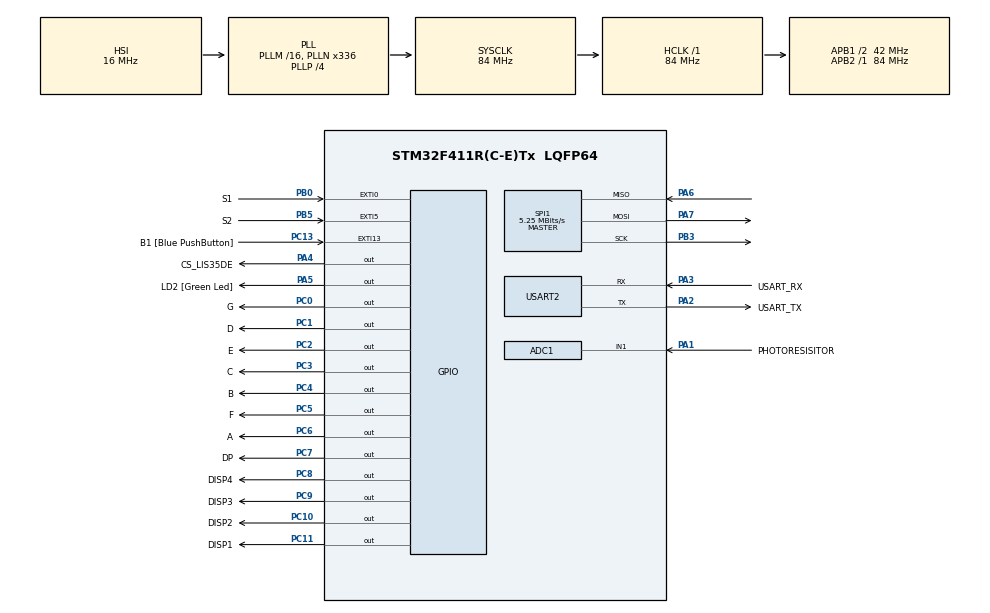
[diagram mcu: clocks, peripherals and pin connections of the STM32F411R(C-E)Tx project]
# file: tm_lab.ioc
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ADC1.Channel-0\#ChannelRegularConversion=ADC_CHANNEL_1
ADC1.Channel-1\#ChannelRegularConversion=ADC_CHANNEL_TEMPSENSOR
ADC1.ContinuousConvMode=DISABLE
ADC1.DMAContinuousRequests=ENABLE
ADC1.EOCSelection=ADC_EOC_SINGLE_CONV
ADC1.ExternalTrigConv=ADC_EXTERNALTRIGCONV_T2_TRGO
ADC1.NbrOfConversion=2
ADC1.NbrOfConversionFlag=1
ADC1.Rank-0\#ChannelRegularConversion=1
ADC1.Rank-1\#ChannelRegularConversion=2
ADC1.SamplingTime-0\#ChannelRegularConversion=ADC_SAMPLETIME_480CYCLES
ADC1.SamplingTime-1\#ChannelRegularConversion=ADC_SAMPLETIME_480CYCLES
ADC1.ScanConvMode=ENABLE
ADC1.master=1
Dma.ADC1.2.Direction=DMA_PERIPH_TO_MEMORY
Dma.ADC1.2.FIFOMode=DMA_FIFOMODE_DISABLE
Dma.ADC1.2.Instance=DMA2_Stream0
Dma.ADC1.2.MemDataAlignment=DMA_MDATAALIGN_HALFWORD
Dma.ADC1.2.MemInc=DMA_MINC_ENABLE
Dma.ADC1.2.Mode=DMA_CIRCULAR
Dma.ADC1.2.PeriphDataAlignment=DMA_PDATAALIGN_HALFWORD
Dma.ADC1.2.PeriphInc=DMA_PINC_DISABLE
Dma.ADC1.2.Priority=DMA_PRIORITY_LOW
Dma.Request0=USART2_TX
Dma.Request1=USART2_RX
Dma.Request2=ADC1
Dma.USART2_RX.1.Direction=DMA_PERIPH_TO_MEMORY
Dma.USART2_RX.1.FIFOMode=DMA_FIFOMODE_DISABLE
Dma.USART2_RX.1.Instance=DMA1_Stream5
Dma.USART2_RX.1.MemDataAlignment=DMA_MDATAALIGN_BYTE
Dma.USART2_RX.1.MemInc=DMA_MINC_ENABLE
Dma.USART2_RX.1.Mode=DMA_NORMAL
Dma.USART2_RX.1.PeriphDataAlignment=DMA_PDATAALIGN_BYTE
Dma.USART2_RX.1.PeriphInc=DMA_PINC_DISABLE
Dma.USART2_RX.1.Priority=DMA_PRIORITY_LOW
Dma.USART2_TX.0.Direction=DMA_MEMORY_TO_PERIPH
Dma.USART2_TX.0.FIFOMode=DMA_FIFOMODE_DISABLE
Dma.USART2_TX.0.Instance=DMA1_Stream6
Dma.USART2_TX.0.MemDataAlignment=DMA_MDATAALIGN_BYTE
Dma.USART2_TX.0.MemInc=DMA_MINC_ENABLE
Dma.USART2_TX.0.Mode=DMA_NORMAL
Dma.USART2_TX.0.PeriphDataAlignment=DMA_PDATAALIGN_BYTE
Dma.USART2_TX.0.PeriphInc=DMA_PINC_DISABLE
Dma.USART2_TX.0.Priority=DMA_PRIORITY_LOW
Mcu.Family=STM32F4
Mcu.Name=STM32F411R(C-E)Tx
Mcu.Package=LQFP64
NVIC.DMA1_Stream5_IRQn=true\:0\:0\:false\:false\:true\:false\:true\:true
NVIC.DMA1_Stream6_IRQn=true\:0\:0\:false\:false\:true\:false\:true\:true
NVIC.DMA2_Stream0_IRQn=true\:0\:0\:false\:false\:true\:false\:true\:true
NVIC.PriorityGroup=NVIC_PRIORITYGROUP_0
NVIC.TIM1_TRG_COM_TIM11_IRQn=true\:0\:0\:false\:false\:true\:true\:true\:true
NVIC.TIM1_UP_TIM10_IRQn=true\:0\:0\:false\:false\:true\:true\:true\:true
NVIC.USART2_IRQn=true\:0\:0\:false\:false\:true\:true\:true\:true
PA1.GPIO_Label=PHOTORESISITOR
PA1.Signal=ADCx_IN1
PA13.GPIO_Label=TMS
PA13.Mode=Serial_Wire
PA13.Signal=SYS_JTMS-SWDIO
PA14.GPIO_Label=TCK
PA14.Mode=Serial_Wire
PA14.Signal=SYS_JTCK-SWCLK
PA2.GPIO_Label=USART_TX
PA2.Mode=Asynchronous
PA2.Signal=USART2_TX
PA3.GPIO_Label=USART_RX
PA3.Mode=Asynchronous
PA3.Signal=USART2_RX
PA4.GPIO_Label=CS_LIS35DE
PA4.PinState=GPIO_PIN_SET
PA4.Signal=GPIO_Output
PA5.GPIO_Label=LD2 [Green Led]
PA5.Signal=GPIO_Output
PA6.Mode=Full_Duplex_Master
PA6.Signal=SPI1_MISO
PA7.Mode=Full_Duplex_Master
PA7.Signal=SPI1_MOSI
PB0.GPIO_Label=S1
PB0.GPIO_ModeDefaultEXTI=GPIO_MODE_IT_FALLING
PB0.GPIO_PuPd=GPIO_PULLUP
PB0.Signal=GPXTI0
PB3.Mode=Full_Duplex_Master
PB3.Signal=SPI1_SCK
PB5.GPIO_Label=S2
PB5.GPIO_ModeDefaultEXTI=GPIO_MODE_IT_FALLING
PB5.GPIO_PuPd=GPIO_PULLUP
PB5.Signal=GPXTI5
PC0.GPIO_Label=G
PC0.Signal=GPIO_Output
PC1.GPIO_Label=D
PC1.Signal=GPIO_Output
PC10.GPIO_Label=DISP2
PC10.Signal=GPIO_Output
PC11.GPIO_Label=DISP1
PC11.Signal=GPIO_Output
PC13-ANTI_TAMP.GPIO_Label=B1 [Blue PushButton]
PC13-ANTI_TAMP.GPIO_ModeDefaultEXTI=GPIO_MODE_IT_FALLING
PC13-ANTI_TAMP.Signal=GPXTI13
PC14-OSC32_IN.Mode=LSE-External-Oscillator
PC14-OSC32_IN.Signal=RCC_OSC32_IN
PC15-OSC32_OUT.Mode=LSE-External-Oscillator
PC15-OSC32_OUT.Signal=RCC_OSC32_OUT
PC2.GPIO_Label=E
PC2.Signal=GPIO_Output
PC3.GPIO_Label=C
PC3.Signal=GPIO_Output
PC4.GPIO_Label=B
PC4.Signal=GPIO_Output
PC5.GPIO_Label=F
PC5.Signal=GPIO_Output
PC6.GPIO_Label=A
PC6.Signal=GPIO_Output
PC7.GPIO_Label=DP
PC7.Signal=GPIO_Output
PC8.GPIO_Label=DISP4
PC8.Signal=GPIO_Output
PC9.GPIO_Label=DISP3
PC9.Signal=GPIO_Output
PH0\ -\ OSC_IN.Mode=HSE-External-Clock-Source
PH0\ -\ OSC_IN.Signal=RCC_OSC_IN
PH1\ -\ OSC_OUT.Mode=HSE-External-Clock-Source
PH1\ -\ OSC_OUT.Signal=RCC_OSC_OUT
ProjectManager.HeapSize=0x200
ProjectManager.StackSize=0x400
ProjectManager.TargetToolchain=STM32CubeIDE
RCC.48MHZClocksFreq_Value=84000000
RCC.AHBFreq_Value=84000000
RCC.APB1CLKDivider=RCC_HCLK_DIV2
RCC.APB1Freq_Value=42000000
RCC.APB1TimFreq_Value=84000000
RCC.APB2Freq_Value=84000000
RCC.APB2TimFreq_Value=84000000
RCC.CortexFreq_Value=84000000
RCC.FLatency-AdvancedSettings=FLASH_LATENCY_2
RCC.HCLKFreq_Value=84000000
RCC.HSE_VALUE=8000000
RCC.HSI_VALUE=16000000
RCC.PLLN=336
RCC.PLLP=RCC_PLLP_DIV4
RCC.SYSCLKFreq_VALUE=84000000
RCC.SYSCLKSource=RCC_SYSCLKSOURCE_PLLCLK
RCC.VCOOutputFreq_Value=336000000
SH.ADCx_IN1.0=ADC1_IN1,IN1
SPI1.BaudRatePrescaler=SPI_BAUDRATEPRESCALER_16
SPI1.CLKPhase=SPI_PHASE_2EDGE
SPI1.CLKPolarity=SPI_POLARITY_HIGH
SPI1.CalculateBaudRate=5.25 MBits/s
SPI1.Direction=SPI_DIRECTION_2LINES
SPI1.Mode=SPI_MODE_MASTER
SPI1.VirtualType=VM_MASTER
TIM10.Period=9
TIM10.Prescaler=8399
TIM11.Period=9999
TIM11.Prescaler=8399
TIM2.Period=999
TIM2.Prescaler=8399
TIM2.TIM_MasterOutputTrigger=TIM_TRGO_UPDATE
USART2.VirtualMode=VM_ASYNC
VP_ADC1_TempSens_Input.Mode=IN-TempSens
VP_TIM10_VS_ClockSourceINT.Mode=Enable_Timer
VP_TIM11_VS_ClockSourceINT.Mode=Enable_Timer
VP_TIM2_VS_ClockSourceINT.Mode=Internal
board=NUCLEO-F411RE

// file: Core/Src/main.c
/* USER CODE BEGIN Header */
/**
  ******************************************************************************
  * @file           : main.c
  * @brief          : Main program body
  ******************************************************************************
  * @attention
  *
  * Copyright (c) 2023 STMicroelectronics.
  * All rights reserved.
  *
  * This software is licensed under terms that can be found in the LICENSE file
  * in the root directory of this software component.
  * If no LICENSE file comes with this software, it is provided AS-IS.
  *
  ******************************************************************************
  */
/* USER CODE END Header */
#include "main.h"

/* USER CODE BEGIN Includes */
#include <stdio.h>
#include <stdbool.h>
/* USER CODE END Includes */

/* USER CODE BEGIN PM */
#define DISPLAY_OFF 255
#define DEBOUNCING_TIME (uint32_t) 20  // [ms]

// Rejsetry akcelerometru LIS35DE
#define CTRL_REG1 0x20  // 01000111 - 0x47
#define OUT_X 0x29
#define OUT_Y 0x2B
#define OUT_Z 0x2D

#define READ(ADDR) ( (ADDR) | (0x80) )

/* USER CODE END PM */

ADC_HandleTypeDef hadc1;
DMA_HandleTypeDef hdma_adc1;

SPI_HandleTypeDef hspi1;

TIM_HandleTypeDef htim2;
TIM_HandleTypeDef htim10;
TIM_HandleTypeDef htim11;

UART_HandleTypeDef huart2;
DMA_HandleTypeDef hdma_usart2_tx;
DMA_HandleTypeDef hdma_usart2_rx;

void SystemClock_Config(void);
static void MX_GPIO_Init(void);
static void MX_DMA_Init(void);
static void MX_USART2_UART_Init(void);
static void MX_TIM10_Init(void);
static void MX_ADC1_Init(void);
static void MX_TIM11_Init(void);
static void MX_TIM2_Init(void);
static void MX_SPI1_Init(void);

/* USER CODE BEGIN 0 */

volatile uint32_t push_time = 0;  // Czas ostatniego wciśnięcia przycisku
volatile uint16_t displayed_number = 0;  // Liczba wyświatlana na wyświelaczach 7-segmentowych

volatile uint8_t n1 = DISPLAY_OFF;  // Cyfra tysięcy
volatile uint8_t n2 = DISPLAY_OFF;  // Cyfra setek
volatile uint8_t n3 = DISPLAY_OFF; // Cyfra dziesiątek
volatile uint8_t n4 = DISPLAY_OFF; // Cyfra jedności

/**
	Funkcja ustawiająca cyfry n1, n2, n3, n4, tak aby reprezentowały 4-cyfrową dziesiętną liczbę

	@param: uint16_t number - liczba całkowita z zakresu 0 - 9999
 **/
void setDigitsByDecimalNumber(uint16_t number){
	n4 = number % 10;
	n3 = (uint8_t) ((number % 100) / 10);
	n2 = (uint8_t) ((number % 1000) / 100);
	n1 = (uint8_t) ((number % 10000) / 1000);

	// Wyłączanie niepotrzebnych zer
	if (n1 == 0)
		n1 = DISPLAY_OFF;

	if (n1 == DISPLAY_OFF && n2 == 0)
		n2 = DISPLAY_OFF;

	if (n1 == DISPLAY_OFF && n2 == DISPLAY_OFF && n3 == 0)
		n3 = DISPLAY_OFF;
}

// Obsługa przerwania zewnętrznego od przycisków S1 i S2, żeby działały, trzeba włączyć EXTI od linii 0 i 5
//void HAL_GPIO_EXTI_Callback(uint16_t GPIO_Pin){
//	// Debouncing
//	if (push_time + DEBOUNCING_TIME < HAL_GetTick()){
//		// Przycisk S1
//		if (GPIO_Pin == S1_Pin){
//			// Zbyt duża wartość
//			if (displayed_number == 9999){
//				displayed_number = 0;
//			} else {
//				++displayed_number;
//			}
//		}
//
//		// Przycisk S2
//		if (GPIO_Pin == S2_Pin){
//			// Zbyt mała wartość
//			if (displayed_number == 0){
//				displayed_number = 9999;
//			} else {
//				--displayed_number;
//			}
//		}
//
//		push_time = HAL_GetTick();
//	}
//
//	// Ustawianie liczby na wyświetlaczu
//	setDigitsByDecimalNumber(displayed_number);
//}

/**
	Funkcja ustawiająca cyfrę dziesiętną na wyświetlaczu 7-segmentowym
	@param: uint8_t digit - zadana liczba, wartość DISPLAY_OFF wyłącza wyświetlacz
 **/
void setDigit(uint8_t digit){
	// Wyłączenie wszystkich segmentów
	HAL_GPIO_WritePin(A_GPIO_Port, A_Pin, GPIO_PIN_RESET);
	HAL_GPIO_WritePin(B_GPIO_Port, B_Pin, GPIO_PIN_RESET);
	HAL_GPIO_WritePin(C_GPIO_Port, C_Pin, GPIO_PIN_RESET);
	HAL_GPIO_WritePin(D_GPIO_Port, D_Pin, GPIO_PIN_RESET);
	HAL_GPIO_WritePin(E_GPIO_Port, E_Pin, GPIO_PIN_RESET);
	HAL_GPIO_WritePin(F_GPIO_Port, F_Pin, GPIO_PIN_RESET);
	HAL_GPIO_WritePin(G_GPIO_Port, G_Pin, GPIO_PIN_RESET);
	HAL_GPIO_WritePin(DP_GPIO_Port, DP_Pin, GPIO_PIN_RESET);

	// Włączanie segmentów, tak aby reprezentowały cyfry
	switch (digit) {
	case 0:
		HAL_GPIO_WritePin(A_GPIO_Port, A_Pin, GPIO_PIN_SET);
		HAL_GPIO_WritePin(B_GPIO_Port, B_Pin, GPIO_PIN_SET);
		HAL_GPIO_WritePin(C_GPIO_Port, C_Pin, GPIO_PIN_SET);
		HAL_GPIO_WritePin(D_GPIO_Port, D_Pin, GPIO_PIN_SET);
		HAL_GPIO_WritePin(E_GPIO_Port, E_Pin, GPIO_PIN_SET);
		HAL_GPIO_WritePin(F_GPIO_Port, F_Pin, GPIO_PIN_SET);
		break;
	case 1:
		HAL_GPIO_WritePin(B_GPIO_Port, B_Pin, GPIO_PIN_SET);
		HAL_GPIO_WritePin(C_GPIO_Port, C_Pin, GPIO_PIN_SET);
		break;
	case 2:
		HAL_GPIO_WritePin(A_GPIO_Port, A_Pin, GPIO_PIN_SET);
		HAL_GPIO_WritePin(B_GPIO_Port, B_Pin, GPIO_PIN_SET);
		HAL_GPIO_WritePin(G_GPIO_Port, G_Pin, GPIO_PIN_SET);
		HAL_GPIO_WritePin(D_GPIO_Port, D_Pin, GPIO_PIN_SET);
		HAL_GPIO_WritePin(E_GPIO_Port, E_Pin, GPIO_PIN_SET);
		break;
	case 3:
		HAL_GPIO_WritePin(A_GPIO_Port, A_Pin, GPIO_PIN_SET);
		HAL_GPIO_WritePin(B_GPIO_Port, B_Pin, GPIO_PIN_SET);
		HAL_GPIO_WritePin(G_GPIO_Port, G_Pin, GPIO_PIN_SET);
		HAL_GPIO_WritePin(D_GPIO_Port, D_Pin, GPIO_PIN_SET);
		HAL_GPIO_WritePin(C_GPIO_Port, C_Pin, GPIO_PIN_SET);
		break;
	case 4:
		HAL_GPIO_WritePin(F_GPIO_Port, F_Pin, GPIO_PIN_SET);
		HAL_GPIO_WritePin(B_GPIO_Port, B_Pin, GPIO_PIN_SET);
		HAL_GPIO_WritePin(G_GPIO_Port, G_Pin, GPIO_PIN_SET);
		HAL_GPIO_WritePin(C_GPIO_Port, C_Pin, GPIO_PIN_SET);
		break;
	case 5:
		HAL_GPIO_WritePin(A_GPIO_Port, A_Pin, GPIO_PIN_SET);
		HAL_GPIO_WritePin(F_GPIO_Port, F_Pin, GPIO_PIN_SET);
		HAL_GPIO_WritePin(G_GPIO_Port, G_Pin, GPIO_PIN_SET);
		HAL_GPIO_WritePin(D_GPIO_Port, D_Pin, GPIO_PIN_SET);
		HAL_GPIO_WritePin(C_GPIO_Port, C_Pin, GPIO_PIN_SET);
		break;
	case 6:
		HAL_GPIO_WritePin(A_GPIO_Port, A_Pin, GPIO_PIN_SET);
		HAL_GPIO_WritePin(G_GPIO_Port, G_Pin, GPIO_PIN_SET);
		HAL_GPIO_WritePin(C_GPIO_Port, C_Pin, GPIO_PIN_SET);
		HAL_GPIO_WritePin(D_GPIO_Port, D_Pin, GPIO_PIN_SET);
		HAL_GPIO_WritePin(E_GPIO_Port, E_Pin, GPIO_PIN_SET);
		HAL_GPIO_WritePin(F_GPIO_Port, F_Pin, GPIO_PIN_SET);
		break;
	case 7:
		HAL_GPIO_WritePin(B_GPIO_Port, B_Pin, GPIO_PIN_SET);
		HAL_GPIO_WritePin(C_GPIO_Port, C_Pin, GPIO_PIN_SET);
		HAL_GPIO_WritePin(A_GPIO_Port, A_Pin, GPIO_PIN_SET);
		break;
	case 8:
		HAL_GPIO_WritePin(A_GPIO_Port, A_Pin, GPIO_PIN_SET);
		HAL_GPIO_WritePin(B_GPIO_Port, B_Pin, GPIO_PIN_SET);
		HAL_GPIO_WritePin(C_GPIO_Port, C_Pin, GPIO_PIN_SET);
		HAL_GPIO_WritePin(D_GPIO_Port, D_Pin, GPIO_PIN_SET);
		HAL_GPIO_WritePin(E_GPIO_Port, E_Pin, GPIO_PIN_SET);
		HAL_GPIO_WritePin(F_GPIO_Port, F_Pin, GPIO_PIN_SET);
		HAL_GPIO_WritePin(G_GPIO_Port, G_Pin, GPIO_PIN_SET);
		break;
	case 9:
		HAL_GPIO_WritePin(A_GPIO_Port, A_Pin, GPIO_PIN_SET);
		HAL_GPIO_WritePin(B_GPIO_Port, B_Pin, GPIO_PIN_SET);
		HAL_GPIO_WritePin(C_GPIO_Port, C_Pin, GPIO_PIN_SET);
		HAL_GPIO_WritePin(D_GPIO_Port, D_Pin, GPIO_PIN_SET);
		HAL_GPIO_WritePin(F_GPIO_Port, F_Pin, GPIO_PIN_SET);
		HAL_GPIO_WritePin(G_GPIO_Port, G_Pin, GPIO_PIN_SET);
		break;
	case DISPLAY_OFF:
		break;
	default:
		break;
	}
}

volatile uint8_t dispCounter = 0;
volatile uint16_t timCounter = 0;

void HAL_TIM_PeriodElapsedCallback(TIM_HandleTypeDef *htim){
	if (htim == &htim10){
		// Wyłączenie wszystkich 4 wyświetlaczy
		HAL_GPIO_WritePin(DISP1_GPIO_Port, DISP1_Pin, GPIO_PIN_SET);
		HAL_GPIO_WritePin(DISP2_GPIO_Port, DISP2_Pin, GPIO_PIN_SET);
		HAL_GPIO_WritePin(DISP3_GPIO_Port, DISP3_Pin, GPIO_PIN_SET);
		HAL_GPIO_WritePin(DISP4_GPIO_Port, DISP4_Pin, GPIO_PIN_SET);

		// Włączenie jednego z wyświetlaczy z odpowiednią cyfrą
		switch (dispCounter) {
		case 0:
			setDigit(n1);
			HAL_GPIO_WritePin(DISP1_GPIO_Port, DISP1_Pin, GPIO_PIN_RESET);
			break;
		case 1:
			setDigit(n2);
			HAL_GPIO_WritePin(DISP2_GPIO_Port, DISP2_Pin, GPIO_PIN_RESET);
			break;
		case 2:
			setDigit(n3);
			HAL_GPIO_WritePin(DISP3_GPIO_Port, DISP3_Pin, GPIO_PIN_RESET);
			break;
		case 3:
			setDigit(n4);
			HAL_GPIO_WritePin(DISP4_GPIO_Port, DISP4_Pin, GPIO_PIN_RESET);
			break;
		default:
			break;
		}

		++dispCounter;

		if (dispCounter >= 4) {
			dispCounter = 0;
		}
	}

	// Zegarek na wyświetlaczu
	else if (htim == &htim11) {
		if (timCounter % 100 == 60)
			timCounter += 40;

		setDigitsByDecimalNumber(timCounter++);
	}

}

volatile uint8_t UARTbuffer[100];
volatile uint16_t ADCbuffer[2];
bool dataSent = true;
bool dataMeasured = false;

void HAL_UART_TxCpltCallback(UART_HandleTypeDef *huart) {
	if (huart -> Instance == USART2) {
		dataSent = true;
	}
}

void HAL_ADC_ConvCpltCallback(ADC_HandleTypeDef* hadc) {
	if (hadc == &hadc1){
		// setDigitsByDecimalNumber((uint16_t) ADCbuffer[0]);  // Wyświetlanie wartości oświetlania
		dataMeasured = true;
	}
}
/* USER CODE END 0 */

int main(void)
{

  /* MCU Configuration--------------------------------------------------------*/

  /* Reset of all peripherals, Initializes the Flash interface and the Systick. */
  HAL_Init();

  /* Configure the system clock */
  SystemClock_Config();

  /* Initialize all configured peripherals */
  MX_GPIO_Init();
  MX_DMA_Init();
  MX_USART2_UART_Init();
  MX_TIM10_Init();
  MX_ADC1_Init();
  MX_TIM11_Init();
  MX_TIM2_Init();
  MX_SPI1_Init();
  /* USER CODE BEGIN 2 */

  HAL_TIM_Base_Start_IT(&htim10);
  HAL_TIM_Base_Start_IT(&htim11);

  setDigitsByDecimalNumber((uint16_t) 0);

  // HAL_UART_Receive_DMA(&huart2, buffer, LENGTH_OF_SENT_STRING);

  HAL_TIM_Base_Start(&htim2);
  HAL_ADC_Start_DMA(&hadc1, ADCbuffer, 2);

  // SPI
  uint8_t TxBuffer[2];
  uint8_t RxBuffer[2];

  TxBuffer[0] = CTRL_REG1;
  TxBuffer[1] = 0x47;

  HAL_GPIO_WritePin(CS_LIS35DE_GPIO_Port, CS_LIS35DE_Pin, GPIO_PIN_RESET);
  HAL_SPI_Transmit(&hspi1, TxBuffer, 2, 10);
  HAL_GPIO_WritePin(CS_LIS35DE_GPIO_Port, CS_LIS35DE_Pin, GPIO_PIN_SET);

  /* USER CODE END 2 */

  /* Infinite loop */
  /* USER CODE BEGIN WHILE */
  while (1)
  {
	  // Formatowanie i wysyłanie zmierzonych wartości oświetlenia i temperatury
//	  if (dataSent && dataMeasured) {
//		  uint8_t stringSize = snprintf(UARTbuffer, sizeof(UARTbuffer), "%d,%d\n", ADCbuffer[0], ADCbuffer[1]);
//		  HAL_UART_Transmit_DMA(&huart2, UARTbuffer, stringSize);
//		  dataSent = false;
//		  dataMeasured = false;
//	  }

	  // Odczyt z akcelerometru
	  uint8_t values[3];

	  RxBuffer[0] = READ(OUT_X);

	  HAL_GPIO_WritePin(CS_LIS35DE_GPIO_Port, CS_LIS35DE_Pin, GPIO_PIN_RESET);
	  HAL_SPI_Receive(&hspi1, RxBuffer, 2, 10);
	  HAL_GPIO_WritePin(CS_LIS35DE_GPIO_Port, CS_LIS35DE_Pin, GPIO_PIN_SET);

	  values[0] = RxBuffer[1];

	  RxBuffer[0] = READ(OUT_Y);

	  HAL_GPIO_WritePin(CS_LIS35DE_GPIO_Port, CS_LIS35DE_Pin, GPIO_PIN_RESET);
	  HAL_SPI_Receive(&hspi1, RxBuffer, 2, 10);
	  HAL_GPIO_WritePin(CS_LIS35DE_GPIO_Port, CS_LIS35DE_Pin, GPIO_PIN_SET);

	  values[1] = RxBuffer[1];

	  RxBuffer[0] = READ(OUT_Z);

	  HAL_GPIO_WritePin(CS_LIS35DE_GPIO_Port, CS_LIS35DE_Pin, GPIO_PIN_RESET);
	  HAL_SPI_Receive(&hspi1, RxBuffer, 2, 10);
	  HAL_GPIO_WritePin(CS_LIS35DE_GPIO_Port, CS_LIS35DE_Pin, GPIO_PIN_SET);

	  values[2] = RxBuffer[1];

	  uint8_t stringSize = snprintf(UARTbuffer, sizeof(UARTbuffer), "Axis X: %d, Axis Y: %d, Axis Z: %d\n", values[0], values[1], values[2]);
	  HAL_UART_Transmit_DMA(&huart2, UARTbuffer, stringSize);

	  HAL_Delay(200);

    /* USER CODE END WHILE */

  }
}

void SystemClock_Config(void)
{
  RCC_OscInitTypeDef RCC_OscInitStruct = {0};
  RCC_ClkInitTypeDef RCC_ClkInitStruct = {0};

  /** Configure the main internal regulator output voltage
  */
  __HAL_RCC_PWR_CLK_ENABLE();
  __HAL_PWR_VOLTAGESCALING_CONFIG(PWR_REGULATOR_VOLTAGE_SCALE1);

  /** Initializes the RCC Oscillators according to the specified parameters
  * in the RCC_OscInitTypeDef structure.
  */
  RCC_OscInitStruct.OscillatorType = RCC_OSCILLATORTYPE_HSI;
  RCC_OscInitStruct.HSIState = RCC_HSI_ON;
  RCC_OscInitStruct.HSICalibrationValue = RCC_HSICALIBRATION_DEFAULT;
  RCC_OscInitStruct.PLL.PLLState = RCC_PLL_ON;
  RCC_OscInitStruct.PLL.PLLSource = RCC_PLLSOURCE_HSI;
  RCC_OscInitStruct.PLL.PLLM = 16;
  RCC_OscInitStruct.PLL.PLLN = 336;
  RCC_OscInitStruct.PLL.PLLP = RCC_PLLP_DIV4;
  RCC_OscInitStruct.PLL.PLLQ = 4;
  if (HAL_RCC_OscConfig(&RCC_OscInitStruct) != HAL_OK)
  {
    Error_Handler();
  }

  /** Initializes the CPU, AHB and APB buses clocks
  */
  RCC_ClkInitStruct.ClockType = RCC_CLOCKTYPE_HCLK|RCC_CLOCKTYPE_SYSCLK
                              |RCC_CLOCKTYPE_PCLK1|RCC_CLOCKTYPE_PCLK2;
  RCC_ClkInitStruct.SYSCLKSource = RCC_SYSCLKSOURCE_PLLCLK;
  RCC_ClkInitStruct.AHBCLKDivider = RCC_SYSCLK_DIV1;
  RCC_ClkInitStruct.APB1CLKDivider = RCC_HCLK_DIV2;
  RCC_ClkInitStruct.APB2CLKDivider = RCC_HCLK_DIV1;

  if (HAL_RCC_ClockConfig(&RCC_ClkInitStruct, FLASH_LATENCY_2) != HAL_OK)
  {
    Error_Handler();
  }
}

static void MX_ADC1_Init(void)
{

  ADC_ChannelConfTypeDef sConfig = {0};

  /** Configure the global features of the ADC (Clock, Resolution, Data Alignment and number of conversion)
  */
  hadc1.Instance = ADC1;
  hadc1.Init.ClockPrescaler = ADC_CLOCK_SYNC_PCLK_DIV4;
  hadc1.Init.Resolution = ADC_RESOLUTION_12B;
  hadc1.Init.ScanConvMode = ENABLE;
  hadc1.Init.ContinuousConvMode = DISABLE;
  hadc1.Init.DiscontinuousConvMode = DISABLE;
  hadc1.Init.ExternalTrigConvEdge = ADC_EXTERNALTRIGCONVEDGE_RISING;
  hadc1.Init.ExternalTrigConv = ADC_EXTERNALTRIGCONV_T2_TRGO;
  hadc1.Init.DataAlign = ADC_DATAALIGN_RIGHT;
  hadc1.Init.NbrOfConversion = 2;
  hadc1.Init.DMAContinuousRequests = ENABLE;
  hadc1.Init.EOCSelection = ADC_EOC_SINGLE_CONV;
  if (HAL_ADC_Init(&hadc1) != HAL_OK)
  {
    Error_Handler();
  }

  /** Configure for the selected ADC regular channel its corresponding rank in the sequencer and its sample time.
  */
  sConfig.Channel = ADC_CHANNEL_1;
  sConfig.Rank = 1;
  sConfig.SamplingTime = ADC_SAMPLETIME_480CYCLES;
  if (HAL_ADC_ConfigChannel(&hadc1, &sConfig) != HAL_OK)
  {
    Error_Handler();
  }

  /** Configure for the selected ADC regular channel its corresponding rank in the sequencer and its sample time.
  */
  sConfig.Channel = ADC_CHANNEL_TEMPSENSOR;
  sConfig.Rank = 2;
  if (HAL_ADC_ConfigChannel(&hadc1, &sConfig) != HAL_OK)
  {
    Error_Handler();
  }

}

static void MX_SPI1_Init(void)
{

  /* SPI1 parameter configuration*/
  hspi1.Instance = SPI1;
  hspi1.Init.Mode = SPI_MODE_MASTER;
  hspi1.Init.Direction = SPI_DIRECTION_2LINES;
  hspi1.Init.DataSize = SPI_DATASIZE_8BIT;
  hspi1.Init.CLKPolarity = SPI_POLARITY_HIGH;
  hspi1.Init.CLKPhase = SPI_PHASE_2EDGE;
  hspi1.Init.NSS = SPI_NSS_SOFT;
  hspi1.Init.BaudRatePrescaler = SPI_BAUDRATEPRESCALER_16;
  hspi1.Init.FirstBit = SPI_FIRSTBIT_MSB;
  hspi1.Init.TIMode = SPI_TIMODE_DISABLE;
  hspi1.Init.CRCCalculation = SPI_CRCCALCULATION_DISABLE;
  hspi1.Init.CRCPolynomial = 10;
  if (HAL_SPI_Init(&hspi1) != HAL_OK)
  {
    Error_Handler();
  }

}

static void MX_TIM2_Init(void)
{

  TIM_ClockConfigTypeDef sClockSourceConfig = {0};
  TIM_MasterConfigTypeDef sMasterConfig = {0};

  htim2.Instance = TIM2;
  htim2.Init.Prescaler = 8399;
  htim2.Init.CounterMode = TIM_COUNTERMODE_UP;
  htim2.Init.Period = 999;
  htim2.Init.ClockDivision = TIM_CLOCKDIVISION_DIV1;
  htim2.Init.AutoReloadPreload = TIM_AUTORELOAD_PRELOAD_DISABLE;
  if (HAL_TIM_Base_Init(&htim2) != HAL_OK)
  {
    Error_Handler();
  }
  sClockSourceConfig.ClockSource = TIM_CLOCKSOURCE_INTERNAL;
  if (HAL_TIM_ConfigClockSource(&htim2, &sClockSourceConfig) != HAL_OK)
  {
    Error_Handler();
  }
  sMasterConfig.MasterOutputTrigger = TIM_TRGO_UPDATE;
  sMasterConfig.MasterSlaveMode = TIM_MASTERSLAVEMODE_DISABLE;
  if (HAL_TIMEx_MasterConfigSynchronization(&htim2, &sMasterConfig) != HAL_OK)
  {
    Error_Handler();
  }

}

static void MX_TIM10_Init(void)
{

  htim10.Instance = TIM10;
  htim10.Init.Prescaler = 8399;
  htim10.Init.CounterMode = TIM_COUNTERMODE_UP;
  htim10.Init.Period = 9;
  htim10.Init.ClockDivision = TIM_CLOCKDIVISION_DIV1;
  htim10.Init.AutoReloadPreload = TIM_AUTORELOAD_PRELOAD_DISABLE;
  if (HAL_TIM_Base_Init(&htim10) != HAL_OK)
  {
    Error_Handler();
  }

}

static void MX_TIM11_Init(void)
{

  htim11.Instance = TIM11;
  htim11.Init.Prescaler = 8399;
  htim11.Init.CounterMode = TIM_COUNTERMODE_UP;
  htim11.Init.Period = 9999;
  htim11.Init.ClockDivision = TIM_CLOCKDIVISION_DIV1;
  htim11.Init.AutoReloadPreload = TIM_AUTORELOAD_PRELOAD_DISABLE;
  if (HAL_TIM_Base_Init(&htim11) != HAL_OK)
  {
    Error_Handler();
  }

}

static void MX_USART2_UART_Init(void)
{

  huart2.Instance = USART2;
  huart2.Init.BaudRate = 115200;
  huart2.Init.WordLength = UART_WORDLENGTH_8B;
  huart2.Init.StopBits = UART_STOPBITS_1;
  huart2.Init.Parity = UART_PARITY_NONE;
  huart2.Init.Mode = UART_MODE_TX_RX;
  huart2.Init.HwFlowCtl = UART_HWCONTROL_NONE;
  huart2.Init.OverSampling = UART_OVERSAMPLING_16;
  if (HAL_UART_Init(&huart2) != HAL_OK)
  {
    Error_Handler();
  }

}

static void MX_DMA_Init(void)
{

  /* DMA controller clock enable */
  __HAL_RCC_DMA1_CLK_ENABLE();
  __HAL_RCC_DMA2_CLK_ENABLE();

  /* DMA interrupt init */
  /* DMA1_Stream5_IRQn interrupt configuration */
  HAL_NVIC_SetPriority(DMA1_Stream5_IRQn, 0, 0);
  HAL_NVIC_EnableIRQ(DMA1_Stream5_IRQn);
  /* DMA1_Stream6_IRQn interrupt configuration */
  HAL_NVIC_SetPriority(DMA1_Stream6_IRQn, 0, 0);
  HAL_NVIC_EnableIRQ(DMA1_Stream6_IRQn);
  /* DMA2_Stream0_IRQn interrupt configuration */
  HAL_NVIC_SetPriority(DMA2_Stream0_IRQn, 0, 0);
  HAL_NVIC_EnableIRQ(DMA2_Stream0_IRQn);

}

static void MX_GPIO_Init(void)
{
  GPIO_InitTypeDef GPIO_InitStruct = {0};

  /* GPIO Ports Clock Enable */
  __HAL_RCC_GPIOC_CLK_ENABLE();
  __HAL_RCC_GPIOH_CLK_ENABLE();
  __HAL_RCC_GPIOA_CLK_ENABLE();
  __HAL_RCC_GPIOB_CLK_ENABLE();

  /*Configure GPIO pin Output Level */
  HAL_GPIO_WritePin(GPIOC, G_Pin|D_Pin|E_Pin|C_Pin
                          |B_Pin|F_Pin|A_Pin|DP_Pin
                          |DISP4_Pin|DISP3_Pin|DISP2_Pin|DISP1_Pin, GPIO_PIN_RESET);

  /*Configure GPIO pin Output Level */
  HAL_GPIO_WritePin(CS_LIS35DE_GPIO_Port, CS_LIS35DE_Pin, GPIO_PIN_SET);

  /*Configure GPIO pin Output Level */
  HAL_GPIO_WritePin(LD2_GPIO_Port, LD2_Pin, GPIO_PIN_RESET);

  /*Configure GPIO pin : B1_Pin */
  GPIO_InitStruct.Pin = B1_Pin;
  GPIO_InitStruct.Mode = GPIO_MODE_IT_FALLING;
  GPIO_InitStruct.Pull = GPIO_NOPULL;
  HAL_GPIO_Init(B1_GPIO_Port, &GPIO_InitStruct);

  /*Configure GPIO pins : G_Pin D_Pin E_Pin C_Pin
                           B_Pin F_Pin A_Pin DP_Pin
                           DISP4_Pin DISP3_Pin DISP2_Pin DISP1_Pin */
  GPIO_InitStruct.Pin = G_Pin|D_Pin|E_Pin|C_Pin
                          |B_Pin|F_Pin|A_Pin|DP_Pin
                          |DISP4_Pin|DISP3_Pin|DISP2_Pin|DISP1_Pin;
  GPIO_InitStruct.Mode = GPIO_MODE_OUTPUT_PP;
  GPIO_InitStruct.Pull = GPIO_NOPULL;
  GPIO_InitStruct.Speed = GPIO_SPEED_FREQ_LOW;
  HAL_GPIO_Init(GPIOC, &GPIO_InitStruct);

  /*Configure GPIO pins : CS_LIS35DE_Pin LD2_Pin */
  GPIO_InitStruct.Pin = CS_LIS35DE_Pin|LD2_Pin;
  GPIO_InitStruct.Mode = GPIO_MODE_OUTPUT_PP;
  GPIO_InitStruct.Pull = GPIO_NOPULL;
  GPIO_InitStruct.Speed = GPIO_SPEED_FREQ_LOW;
  HAL_GPIO_Init(GPIOA, &GPIO_InitStruct);

  /*Configure GPIO pins : S1_Pin S2_Pin */
  GPIO_InitStruct.Pin = S1_Pin|S2_Pin;
  GPIO_InitStruct.Mode = GPIO_MODE_IT_FALLING;
  GPIO_InitStruct.Pull = GPIO_PULLUP;
  HAL_GPIO_Init(GPIOB, &GPIO_InitStruct);

}

void Error_Handler(void)
{
  __disable_irq();
  while (1)
  {
  }
}
